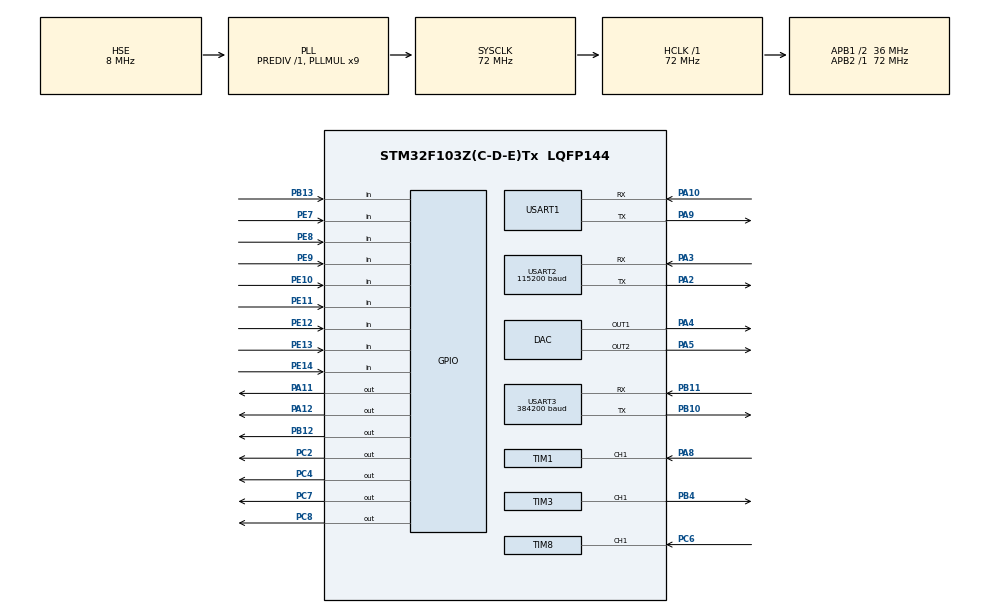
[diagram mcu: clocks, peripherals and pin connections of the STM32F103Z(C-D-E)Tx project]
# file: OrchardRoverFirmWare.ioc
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DAC.DAC_OutputBuffer=DAC_OUTPUTBUFFER_DISABLE
DAC.DAC_OutputBuffer2=DAC_OUTPUTBUFFER_DISABLE
Dma.Request0=USART1_RX
Dma.Request1=USART1_TX
Dma.Request2=USART2_RX
Dma.Request3=USART2_TX
Dma.Request4=USART3_RX
Dma.Request5=USART3_TX
Dma.USART1_RX.0.Direction=DMA_PERIPH_TO_MEMORY
Dma.USART1_RX.0.Instance=DMA1_Channel5
Dma.USART1_RX.0.MemDataAlignment=DMA_MDATAALIGN_BYTE
Dma.USART1_RX.0.MemInc=DMA_MINC_ENABLE
Dma.USART1_RX.0.Mode=DMA_NORMAL
Dma.USART1_RX.0.PeriphDataAlignment=DMA_PDATAALIGN_BYTE
Dma.USART1_RX.0.PeriphInc=DMA_PINC_DISABLE
Dma.USART1_RX.0.Priority=DMA_PRIORITY_LOW
Dma.USART1_TX.1.Direction=DMA_MEMORY_TO_PERIPH
Dma.USART1_TX.1.Instance=DMA1_Channel4
Dma.USART1_TX.1.MemDataAlignment=DMA_MDATAALIGN_BYTE
Dma.USART1_TX.1.MemInc=DMA_MINC_ENABLE
Dma.USART1_TX.1.Mode=DMA_NORMAL
Dma.USART1_TX.1.PeriphDataAlignment=DMA_PDATAALIGN_BYTE
Dma.USART1_TX.1.PeriphInc=DMA_PINC_DISABLE
Dma.USART1_TX.1.Priority=DMA_PRIORITY_LOW
Dma.USART2_RX.2.Direction=DMA_PERIPH_TO_MEMORY
Dma.USART2_RX.2.Instance=DMA1_Channel6
Dma.USART2_RX.2.MemDataAlignment=DMA_MDATAALIGN_BYTE
Dma.USART2_RX.2.MemInc=DMA_MINC_ENABLE
Dma.USART2_RX.2.Mode=DMA_NORMAL
Dma.USART2_RX.2.PeriphDataAlignment=DMA_PDATAALIGN_BYTE
Dma.USART2_RX.2.PeriphInc=DMA_PINC_DISABLE
Dma.USART2_RX.2.Priority=DMA_PRIORITY_LOW
Dma.USART2_TX.3.Direction=DMA_MEMORY_TO_PERIPH
Dma.USART2_TX.3.Instance=DMA1_Channel7
Dma.USART2_TX.3.MemDataAlignment=DMA_MDATAALIGN_BYTE
Dma.USART2_TX.3.MemInc=DMA_MINC_ENABLE
Dma.USART2_TX.3.Mode=DMA_NORMAL
Dma.USART2_TX.3.PeriphDataAlignment=DMA_PDATAALIGN_BYTE
Dma.USART2_TX.3.PeriphInc=DMA_PINC_DISABLE
Dma.USART2_TX.3.Priority=DMA_PRIORITY_LOW
Dma.USART3_RX.4.Direction=DMA_PERIPH_TO_MEMORY
Dma.USART3_RX.4.Instance=DMA1_Channel3
Dma.USART3_RX.4.MemDataAlignment=DMA_MDATAALIGN_BYTE
Dma.USART3_RX.4.MemInc=DMA_MINC_ENABLE
Dma.USART3_RX.4.Mode=DMA_NORMAL
Dma.USART3_RX.4.PeriphDataAlignment=DMA_PDATAALIGN_BYTE
Dma.USART3_RX.4.PeriphInc=DMA_PINC_DISABLE
Dma.USART3_RX.4.Priority=DMA_PRIORITY_LOW
Dma.USART3_TX.5.Direction=DMA_MEMORY_TO_PERIPH
Dma.USART3_TX.5.Instance=DMA1_Channel2
Dma.USART3_TX.5.MemDataAlignment=DMA_MDATAALIGN_BYTE
Dma.USART3_TX.5.MemInc=DMA_MINC_ENABLE
Dma.USART3_TX.5.Mode=DMA_NORMAL
Dma.USART3_TX.5.PeriphDataAlignment=DMA_PDATAALIGN_BYTE
Dma.USART3_TX.5.PeriphInc=DMA_PINC_DISABLE
Dma.USART3_TX.5.Priority=DMA_PRIORITY_LOW
FREERTOS.Tasks01=defaultTask,0,128,StartDefaultTask,Default,NULL
FREERTOS.configUSE_COUNTING_SEMAPHORES=0
FREERTOS.configUSE_TASK_NOTIFICATIONS=1
FREERTOS.configUSE_TICKLESS_IDLE=0
Mcu.Family=STM32F1
Mcu.Name=STM32F103Z(C-D-E)Tx
Mcu.Package=LQFP144
NVIC.DMA1_Channel2_IRQn=true\:5\:0\:false\:false\:true\:true\:false\:true
NVIC.DMA1_Channel3_IRQn=true\:5\:0\:false\:false\:true\:true\:false\:true
NVIC.DMA1_Channel4_IRQn=true\:5\:0\:false\:false\:true\:true\:false\:true
NVIC.DMA1_Channel5_IRQn=true\:5\:0\:false\:false\:true\:true\:false\:true
NVIC.DMA1_Channel6_IRQn=true\:5\:0\:false\:false\:true\:true\:false\:true
NVIC.DMA1_Channel7_IRQn=true\:5\:0\:false\:false\:true\:true\:false\:true
NVIC.PriorityGroup=NVIC_PRIORITYGROUP_4
NVIC.TIM1_CC_IRQn=true\:4\:0\:true\:false\:true\:false\:true\:true
NVIC.TIM3_IRQn=true\:5\:0\:false\:false\:true\:true\:true\:true
NVIC.TIM4_IRQn=true\:0\:0\:false\:false\:true\:false\:false\:true
NVIC.TIM6_IRQn=true\:5\:0\:false\:false\:true\:true\:true\:true
NVIC.TIM8_CC_IRQn=true\:4\:0\:true\:false\:true\:false\:true\:true
NVIC.TimeBase=TIM4_IRQn
NVIC.TimeBaseIP=TIM4
NVIC.USART1_IRQn=true\:5\:0\:false\:false\:true\:true\:true\:true
NVIC.USART2_IRQn=true\:5\:0\:false\:false\:true\:true\:true\:true
NVIC.USART3_IRQn=true\:5\:0\:false\:false\:true\:true\:true\:true
OSC_IN.Mode=HSE-External-Oscillator
OSC_IN.Signal=RCC_OSC_IN
OSC_OUT.Mode=HSE-External-Oscillator
OSC_OUT.Signal=RCC_OSC_OUT
PA10.Mode=Asynchronous
PA10.Signal=USART1_RX
PA11.Signal=GPIO_Output
PA12.Signal=GPIO_Output
PA13.Mode=Serial_Wire
PA13.Signal=SYS_JTMS-SWDIO
PA14.Mode=Serial_Wire
PA14.Signal=SYS_JTCK-SWCLK
PA2.Mode=Asynchronous
PA2.Signal=USART2_TX
PA3.Mode=Asynchronous
PA3.Signal=USART2_RX
PA4.Signal=COMP_DAC1_group
PA5.Signal=COMP_DAC2_group
PA8.Signal=S_TIM1_CH1
PA9.Mode=Asynchronous
PA9.Signal=USART1_TX
PB10.Mode=Asynchronous
PB10.Signal=USART3_TX
PB11.Mode=Asynchronous
PB11.Signal=USART3_RX
PB12.Signal=GPIO_Output
PB13.GPIO_Mode=GPIO_MODE_INPUT
PB13.GPIO_PuPd=GPIO_PULLDOWN
PB13.Signal=GPIO_Input
PB4.Signal=S_TIM3_CH1
PC2.Signal=GPIO_Output
PC4.Signal=GPIO_Output
PC6.Signal=S_TIM8_CH1
PC7.Signal=GPIO_Output
PC8.Signal=GPIO_Output
PE10.GPIO_Mode=GPIO_MODE_INPUT
PE10.GPIO_PuPd=GPIO_PULLDOWN
PE10.Signal=GPIO_Input
PE11.GPIO_Mode=GPIO_MODE_INPUT
PE11.GPIO_PuPd=GPIO_PULLDOWN
PE11.Signal=GPIO_Input
PE12.GPIO_Mode=GPIO_MODE_INPUT
PE12.GPIO_PuPd=GPIO_PULLDOWN
PE12.Signal=GPIO_Input
PE13.GPIO_Mode=GPIO_MODE_INPUT
PE13.GPIO_PuPd=GPIO_PULLDOWN
PE13.Signal=GPIO_Input
PE14.GPIO_Mode=GPIO_MODE_INPUT
PE14.GPIO_PuPd=GPIO_PULLDOWN
PE14.Signal=GPIO_Input
PE7.Signal=GPIO_Input
PE8.GPIO_Mode=GPIO_MODE_INPUT
PE8.GPIO_PuPd=GPIO_PULLDOWN
PE8.Signal=GPIO_Input
PE9.GPIO_Mode=GPIO_MODE_INPUT
PE9.GPIO_PuPd=GPIO_PULLDOWN
PE9.Signal=GPIO_Input
ProjectManager.HeapSize=0x200
ProjectManager.StackSize=0x400
ProjectManager.TargetToolchain=MDK-ARM V5
RCC.ADCPresc=RCC_ADCPCLK2_DIV6
RCC.AHBFreq_Value=72000000
RCC.APB1CLKDivider=RCC_HCLK_DIV2
RCC.APB1Freq_Value=36000000
RCC.APB1TimFreq_Value=72000000
RCC.APB2Freq_Value=72000000
RCC.APB2TimFreq_Value=72000000
RCC.HCLKFreq_Value=72000000
RCC.PLLMUL=RCC_PLL_MUL9
RCC.PLLSourceVirtual=RCC_PLLSOURCE_HSE
RCC.SYSCLKFreq_VALUE=72000000
RCC.SYSCLKSource=RCC_SYSCLKSOURCE_PLLCLK
RCC.USBFreq_Value=72000000
SH.COMP_DAC1_group.0=DAC_OUT1,DAC_OUT1
SH.COMP_DAC2_group.0=DAC_OUT2,DAC_OUT2
SH.S_TIM1_CH1.0=TIM1_CH1,Input_Capture1_from_TI1
SH.S_TIM3_CH1.0=TIM3_CH1,PWM Generation1 CH1
SH.S_TIM8_CH1.0=TIM8_CH1,Input_Capture1_from_TI1
TIM1.Channel-Input_Capture1_from_TI1=TIM_CHANNEL_1
TIM1.Channel-Input_Capture2_from_TI2=TIM_CHANNEL_2
TIM1.Period=0xFFFF
TIM1.Prescaler=719
TIM3.Channel-PWM\ Generation1\ CH1=TIM_CHANNEL_1
TIM3.Period=199
TIM3.Prescaler=71
TIM3.Pulse-PWM\ Generation1\ CH1=99
TIM6.Period=9999
TIM6.Prescaler=7199
TIM8.Channel-Input_Capture1_from_TI1=TIM_CHANNEL_1
TIM8.Period=0xFFFF
TIM8.Prescaler=719
USART1.VirtualMode=VM_ASYNC
USART2.BaudRate=115200
USART2.VirtualMode=VM_ASYNC
USART3.BaudRate=384200
USART3.VirtualMode=VM_ASYNC
VP_FREERTOS_VS_CMSIS_V1.Mode=CMSIS_V1
VP_SYS_VS_tim4.Mode=TIM4
VP_TIM1_VS_ClockSourceINT.Mode=Internal
VP_TIM3_VS_ClockSourceINT.Mode=Internal
VP_TIM6_VS_ClockSourceINT.Mode=Enable_Timer
VP_TIM8_VS_ClockSourceINT.Mode=Internal
board=custom

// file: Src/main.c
/* USER CODE BEGIN Header */
/**
 ******************************************************************************
 * @file           : main.c
 * @brief          : Main program body
 ******************************************************************************
 * @attention
 *
 * <h2><center>&copy; Copyright (c) 2019 STMicroelectronics.
 * All rights reserved.</center></h2>
 *
 * This software component is licensed by ST under Ultimate Liberty license
 * SLA0044, the "License"; You may not use this file except in compliance with
 * the License. You may obtain a copy of the License at:
 *                             www.st.com/SLA0044
 *
 ******************************************************************************
 */
/* USER CODE END Header */

#include "main.h"
#include "cmsis_os.h"
#include "dac.h"
#include "dma.h"
#include "gpio.h"
#include "tim.h"
#include "usart.h"

/* USER CODE BEGIN Includes */
#include "bsp_uart.h"
#include "leonard_delay.h"
#include "motor_con.h"
#include "orchard_rover_sys.h"
/* USER CODE END Includes */

void SystemClock_Config(void);
void MX_FREERTOS_Init(void);

/* USER CODE BEGIN 0 */
int cxn = 0;
int cxn2 = 0;
uint8_t tempStr[4];
int ccc = 0;
/* USER CODE END 0 */

int main(void) {

    /* MCU
     * Configuration--------------------------------------------------------*/

    /* Reset of all peripherals, Initializes the Flash interface and the
     * Systick. */
    HAL_Init();

    /* Configure the system clock */
    SystemClock_Config();

    /* Initialize all configured peripherals */
    MX_GPIO_Init();
    MX_DMA_Init();
    MX_TIM3_Init();
    MX_TIM1_Init();
    MX_DAC_Init();
    MX_TIM8_Init();
    MX_USART1_UART_Init();
    MX_USART2_UART_Init();
    MX_USART3_UART_Init();
    MX_TIM6_Init();
    /* USER CODE BEGIN 2 */

    // 如果GPIOB_12与GPIO_13是连通的，就启用GPS
    HAL_GPIO_WritePin(GPIOB, GPIO_PIN_12, GPIO_PIN_SET);
    HAL_Delay(10);
    if (HAL_GPIO_ReadPin(GPIOB, GPIO_PIN_13) == GPIO_PIN_SET) {
        gps_used = 1;
    }

    HAL_TIM_IC_Start_IT(&htim1, TIM_CHANNEL_1);
    HAL_TIM_IC_Start_IT(&htim8, TIM_CHANNEL_1);
    HAL_DAC_SetValue(&hdac, DAC_CHANNEL_1, DAC_ALIGN_12B_R, 0);
    HAL_DAC_SetValue(&hdac, DAC_CHANNEL_2, DAC_ALIGN_12B_R, 0);
    HAL_DAC_Start(&hdac, DAC_CHANNEL_1);
    HAL_DAC_Start(&hdac, DAC_CHANNEL_2);
    Sys_Uart_Init();
    MotorInit();

    //用于微秒延时
    // LeonardDelayInit(72);

    // HAL_TIM_Base_Start_IT(&htim6);

    /* USER CODE END 2 */

    /* Call init function for freertos objects (in freertos.c) */
    MX_FREERTOS_Init();

    /* Start scheduler */
    osKernelStart();

    /* We should never get here as control is now taken by the scheduler */

    /* Infinite loop */
    while (1) {

    }
}

void SystemClock_Config(void) {
    RCC_OscInitTypeDef RCC_OscInitStruct = {0};
    RCC_ClkInitTypeDef RCC_ClkInitStruct = {0};

    /** Initializes the CPU, AHB and APB busses clocks
     */
    RCC_OscInitStruct.OscillatorType = RCC_OSCILLATORTYPE_HSE;
    RCC_OscInitStruct.HSEState = RCC_HSE_ON;
    RCC_OscInitStruct.HSEPredivValue = RCC_HSE_PREDIV_DIV1;
    RCC_OscInitStruct.HSIState = RCC_HSI_ON;
    RCC_OscInitStruct.PLL.PLLState = RCC_PLL_ON;
    RCC_OscInitStruct.PLL.PLLSource = RCC_PLLSOURCE_HSE;
    RCC_OscInitStruct.PLL.PLLMUL = RCC_PLL_MUL9;
    if (HAL_RCC_OscConfig(&RCC_OscInitStruct) != HAL_OK) {
        Error_Handler();
    }
    /** Initializes the CPU, AHB and APB busses clocks
     */
    RCC_ClkInitStruct.ClockType = RCC_CLOCKTYPE_HCLK | RCC_CLOCKTYPE_SYSCLK |
                                  RCC_CLOCKTYPE_PCLK1 | RCC_CLOCKTYPE_PCLK2;
    RCC_ClkInitStruct.SYSCLKSource = RCC_SYSCLKSOURCE_PLLCLK;
    RCC_ClkInitStruct.AHBCLKDivider = RCC_SYSCLK_DIV1;
    RCC_ClkInitStruct.APB1CLKDivider = RCC_HCLK_DIV2;
    RCC_ClkInitStruct.APB2CLKDivider = RCC_HCLK_DIV1;

    if (HAL_RCC_ClockConfig(&RCC_ClkInitStruct, FLASH_LATENCY_2) != HAL_OK) {
        Error_Handler();
    }
}

/* USER CODE BEGIN 4 */
void HAL_TIM_IC_CaptureCallback(TIM_HandleTypeDef* htim) {
    MotorTIMHandler(htim);
}
/* USER CODE END 4 */

void HAL_TIM_PeriodElapsedCallback(TIM_HandleTypeDef* htim) {
    if (htim->Instance == TIM4) {
        HAL_IncTick();
    }
    /* USER CODE BEGIN Callback 1 */
    if (htim->Instance == TIM6) {
        tempStr[0] = 'a';
        tempStr[1] = 'b';
        tempStr[2] = 'c';
        tempStr[3] = 'd';
        // Forward_Upper_Msg_To_Observe(tempStr,4);
        HAL_UART_Transmit_DMA(&huart1, tempStr, 4);
    }

    /* USER CODE END Callback 1 */
}

void Error_Handler(void) {
    /* USER CODE BEGIN Error_Handler_Debug */
    /* User can add his own implementation to report the HAL error return state
     */

    /* USER CODE END Error_Handler_Debug */
}

#ifdef USE_FULL_ASSERT
/**
 * @brief  Reports the name of the source file and the source line number
 *         where the assert_param error has occurred.
 * @param  file: pointer to the source file name
 * @param  line: assert_param error line source number
 * @retval None
 */
void assert_failed(uint8_t* file, uint32_t line) {
    /* USER CODE BEGIN 6 */
    /* User can add his own implementation to report the file name and line
       number, tex: printf("Wrong parameters value: file %s on line %d\r\n",
       file, line) */
    /* USER CODE END 6 */
}
#endif /* USE_FULL_ASSERT */

/************************ (C) COPYRIGHT STMicroelectronics *****END OF FILE****/

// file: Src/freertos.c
/* USER CODE BEGIN Header */
/**
 ******************************************************************************
 * File Name          : freertos.c
 * Description        : Code for freertos applications
 ******************************************************************************
 * @attention
 *
 * <h2><center>&copy; Copyright (c) 2019 STMicroelectronics.
 * All rights reserved.</center></h2>
 *
 * This software component is licensed by ST under Ultimate Liberty license
 * SLA0044, the "License"; You may not use this file except in compliance with
 * the License. You may obtain a copy of the License at:
 *                             www.st.com/SLA0044
 *
 ******************************************************************************
 */
/* USER CODE END Header */

#include "FreeRTOS.h"
#include "cmsis_os.h"
#include "main.h"
#include "task.h"

/* USER CODE BEGIN Includes */
#include "drive_task.h"
#include "encoder_task.h"
#include "orchard_rover_sys.h"
#include "remote_receive_task.h"

/* USER CODE END Includes */

/* USER CODE BEGIN Variables */
osThreadId DriveTaskHandle;
osThreadId EncoderTaskHandle;
osThreadId RemoteReceiveTaskHandle;

/* USER CODE END Variables */
osThreadId defaultTaskHandle;

void StartDefaultTask(void const* argument);

void MX_FREERTOS_Init(void); /* (MISRA C 2004 rule 8.1) */

void MX_FREERTOS_Init(void) {

    /* Create the thread(s) */
    /* definition and creation of defaultTask */
    //   osThreadDef(defaultTask, StartDefaultTask, osPriorityNormal, 0, 128);
    //   defaultTaskHandle = osThreadCreate(osThread(defaultTask), NULL);

    /* USER CODE BEGIN RTOS_THREADS */
    /* add threads, ... */

    // freeRTOS创建任务时，128是指128个字，也就是128*4个字节
    osThreadDef(EncoderTask, Encoder_Task, osPriorityHigh, 0, 128);
    EncoderTaskHandle = osThreadCreate(osThread(EncoderTask), NULL);

    osThreadDef(DriveTask, Drive_Task, osPriorityAboveNormal, 0, 128);
    DriveTaskHandle = osThreadCreate(osThread(DriveTask), NULL);

    osThreadDef(RemoteReceiveTask, Remote_Receive_Task, osPriorityNormal, 0,
                64);
    RemoteReceiveTaskHandle = osThreadCreate(osThread(RemoteReceiveTask), NULL);

    /* USER CODE END RTOS_THREADS */
}

void StartDefaultTask(void const* argument) {
    /* USER CODE BEGIN StartDefaultTask */
    /* Infinite loop */
    for (;;) {
        osDelay(1000);
    }
    /* USER CODE END StartDefaultTask */
}

/************************ (C) COPYRIGHT STMicroelectronics *****END OF FILE****/
